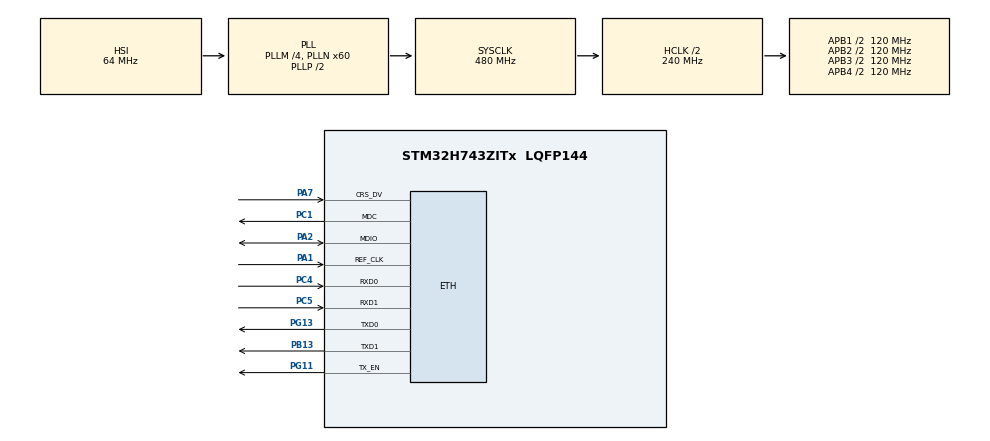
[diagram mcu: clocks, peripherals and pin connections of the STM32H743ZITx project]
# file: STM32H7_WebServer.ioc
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CORTEX_M7.AccessPermission-Cortex_Memory_Protection_Unit_Region0_Settings=MPU_REGION_FULL_ACCESS
CORTEX_M7.BaseAddress-Cortex_Memory_Protection_Unit_Region0_Settings=0x30000000
CORTEX_M7.CPU_DCache=Enabled
CORTEX_M7.CPU_ICache=Enabled
CORTEX_M7.DisableExec-Cortex_Memory_Protection_Unit_Region0_Settings=MPU_INSTRUCTION_ACCESS_DISABLE
CORTEX_M7.Enable-Cortex_Memory_Protection_Unit_Region0_Settings=MPU_REGION_ENABLE
CORTEX_M7.IsShareable-Cortex_Memory_Protection_Unit_Region0_Settings=MPU_ACCESS_SHAREABLE
CORTEX_M7.MPU_Control=MPU_PRIVILEGED_DEFAULT
CORTEX_M7.Size-Cortex_Memory_Protection_Unit_Region0_Settings=MPU_REGION_SIZE_128B
ETH.ETH_RX_DESC_CNT=4
ETH.MACAddr=0A\:D0\:E3\:56\:98\:01
ETH.MediaInterface=HAL_ETH_RMII_MODE
FREERTOS.Tasks01=defaultTask,0,1024,StartDefaultTask,Default,NULL,Dynamic,NULL,NULL
LWIP.BSP.number=1
LWIP.CMSIS_VERSION-Enabled=1
LWIP.DHCP_DEBUG=LWIP_DBG_ON
LWIP.GATEWAY_ADDRESS=192.168.117.001
LWIP.ICMP_DEBUG=LWIP_DBG_ON
LWIP.IP_ADDRESS=192.168.117.197
LWIP.IP_DEBUG=LWIP_DBG_ON
LWIP.LWIP_BROADCAST_PING=1
LWIP.LWIP_DHCP=1
LWIP.LWIP_HTTPD=1
LWIP.LWIP_MULTICAST_PING=1
LWIP.LWIP_NETIF_STATUS_CALLBACK=1
LWIP.MEM_SIZE=10*1024
LWIP.NETIF_DEBUG=LWIP_DBG_ON
LWIP.NETMASK_ADDRESS=255.255.255.000
LWIP.Version=v2.1.2_Cube
LWIP0.BSP.STBoard=false
LWIP0.BSP.api=BSP_COMPONENT_DRIVER
LWIP0.BSP.component=LAN8742
LWIP0.BSP.instance=LAN8742
LWIP0.BSP.name=Driver_PHY
LWIP0.BSP.semaphore=S_LAN8742
LWIP0.BSP.solution=LAN8742
ME.X-CUBE-TEST.1.0.1.AppBundleCcDeviceJjApplication=DateEcIiApp
ME.X-CUBE-TEST.1.0.1.Bundle1CcDataOoExchangeJjComp1=true
ME.X-CUBE-TEST.1.0.1.Bundle1CcDataOoExchangeJjComp2=true
ME.X-CUBE-TEST.1.0.1.FileOoSystemJjTopComponent=true
Mcu.Family=STM32H7
Mcu.Name=STM32H743ZITx
Mcu.Package=LQFP144
NVIC.ETH_IRQn=true\:5\:0\:false\:false\:true\:true\:true\:true\:true
NVIC.PriorityGroup=NVIC_PRIORITYGROUP_4
NVIC.TIM1_UP_IRQn=true\:15\:0\:false\:false\:true\:false\:false\:true\:true
NVIC.TimeBase=TIM1_UP_IRQn
NVIC.TimeBaseIP=TIM1
PA1.Mode=RMII
PA1.Signal=ETH_REF_CLK
PA2.Mode=RMII
PA2.Signal=ETH_MDIO
PA7.Mode=RMII
PA7.Signal=ETH_CRS_DV
PB13.Mode=RMII
PB13.Signal=ETH_TXD1
PC1.Mode=RMII
PC1.Signal=ETH_MDC
PC4.Mode=RMII
PC4.Signal=ETH_RXD0
PC5.Mode=RMII
PC5.Signal=ETH_RXD1
PG11.Mode=RMII
PG11.Signal=ETH_TX_EN
PG13.Mode=RMII
PG13.Signal=ETH_TXD0
PH0-OSC_IN\ (PH0).Mode=HSE-External-Oscillator
PH0-OSC_IN\ (PH0).Signal=RCC_OSC_IN
PH1-OSC_OUT\ (PH1).Mode=HSE-External-Oscillator
PH1-OSC_OUT\ (PH1).Signal=RCC_OSC_OUT
ProjectManager.HeapSize=0x200
ProjectManager.StackSize=0x400
ProjectManager.TargetToolchain=STM32CubeIDE
RCC.ADCFreq_Value=129000000
RCC.APB1Freq_Value=120000000
RCC.APB2Freq_Value=120000000
RCC.APB3Freq_Value=120000000
RCC.APB4Freq_Value=120000000
RCC.CortexFreq_Value=480000000
RCC.D1PPRE=RCC_APB3_DIV2
RCC.D2PPRE1=RCC_APB1_DIV2
RCC.D2PPRE2=RCC_APB2_DIV2
RCC.D3PPRE=RCC_APB4_DIV2
RCC.DIVM1=4
RCC.DIVN1=60
RCC.HCLKFreq_Value=240000000
RCC.HPRE=RCC_HCLK_DIV2
RCC.PLL2FRACN=0
RCC.PLL3FRACN=0
RCC.PLLFRACN=0
RCC.SYSCLKFreq_VALUE=480000000
RCC.SYSCLKSource=RCC_SYSCLKSOURCE_PLLCLK
RCC.USBFreq_Value=480000000
VP_FREERTOS_VS_CMSIS_V1.Mode=CMSIS_V1
VP_LWIP_VS_Enabled.Mode=Enabled
VP_ME.X-CUBE-TEST_VS_DataOoExchangeJjBundle1_1.0.0_1.0.1.Mode=DataOoExchangeJjBundle1
VP_ME.X-CUBE-TEST_VS_DeviceJjAppBundle_1.0.0_1.0.1.Mode=DeviceJjAppBundle
VP_ME.X-CUBE-TEST_VS_FileOoSystemJjTopComponent_1.0.0_1.0.1.Mode=FileOoSystemJjTopComponent
VP_SYS_VS_tim1.Mode=TIM1
board=NUCLEO-H743ZI2

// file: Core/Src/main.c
/* USER CODE BEGIN Header */
/**
  ******************************************************************************
  * @file           : main.c
  * @brief          : Main program body
  ******************************************************************************
  * @attention
  *
  * Copyright (c) 2024 STMicroelectronics.
  * All rights reserved.
  *
  * This software is licensed under terms that can be found in the LICENSE file
  * in the root directory of this software component.
  * If no LICENSE file comes with this software, it is provided AS-IS.
  *
  ******************************************************************************
  */
/* USER CODE END Header */
#include "main.h"
#include "cmsis_os.h"
#include "lwip.h"

osThreadId defaultTaskHandle;
/* USER CODE BEGIN PV */
extern struct netif gnetif;
/* USER CODE END PV */

void SystemClock_Config(void);
static void MPU_Config(void);
static void MX_GPIO_Init(void);
void StartDefaultTask(void const * argument);

/* USER CODE BEGIN 0 */

//Debug Exception and Monitor Control Register base address
#define DEMCR        			*((volatile uint32_t*) 0xE000EDFCU )

/* ITM register addresses */
#define ITM_STIMULUS_PORT0   	*((volatile uint32_t*) 0xE0000000 )
#define ITM_TRACE_EN          	*((volatile uint32_t*) 0xE0000E00 )

void u8_ITM_SendChar(uint8_t ch)
{

	//Enable TRCENA
	DEMCR |= ( 1 << 24);

	//enable stimulus port 0
	ITM_TRACE_EN |= ( 1 << 0);

	// read FIFO status in bit [0]:
	while(!(ITM_STIMULUS_PORT0 & 1));

	//Write to ITM stimulus port0
	ITM_STIMULUS_PORT0 = ch;
}

void vApplicationStackOverflowHook(TaskHandle_t xTask, signed char* pcTaskName) {
    printf("Stackoverflow!---------------------\n");
    printf(pcTaskName);
}
/* USER CODE END 0 */

int main(void)
{

  /* MPU Configuration--------------------------------------------------------*/
  MPU_Config();

  /* Enable the CPU Cache */

  /* Enable I-Cache---------------------------------------------------------*/
  SCB_EnableICache();

  /* Enable D-Cache---------------------------------------------------------*/
  SCB_EnableDCache();

  /* MCU Configuration--------------------------------------------------------*/

  /* Reset of all peripherals, Initializes the Flash interface and the Systick. */
  HAL_Init();

  /* Configure the system clock */
  SystemClock_Config();

  /* Initialize all configured peripherals */
  MX_GPIO_Init();

  /* Create the thread(s) */
  /* definition and creation of defaultTask */
  osThreadDef(defaultTask, StartDefaultTask, osPriorityNormal, 0, 1024);
  defaultTaskHandle = osThreadCreate(osThread(defaultTask), NULL);

  /* Start scheduler */
  osKernelStart();

  /* We should never get here as control is now taken by the scheduler */

  /* Infinite loop */
  while (1)
  {

  }
}

void SystemClock_Config(void)
{
  RCC_OscInitTypeDef RCC_OscInitStruct = {0};
  RCC_ClkInitTypeDef RCC_ClkInitStruct = {0};

  /** Supply configuration update enable
  */
  HAL_PWREx_ConfigSupply(PWR_LDO_SUPPLY);

  /** Configure the main internal regulator output voltage
  */
  __HAL_PWR_VOLTAGESCALING_CONFIG(PWR_REGULATOR_VOLTAGE_SCALE1);

  while(!__HAL_PWR_GET_FLAG(PWR_FLAG_VOSRDY)) {}

  __HAL_RCC_SYSCFG_CLK_ENABLE();
  __HAL_PWR_VOLTAGESCALING_CONFIG(PWR_REGULATOR_VOLTAGE_SCALE0);

  while(!__HAL_PWR_GET_FLAG(PWR_FLAG_VOSRDY)) {}

  /** Initializes the RCC Oscillators according to the specified parameters
  * in the RCC_OscInitTypeDef structure.
  */
  RCC_OscInitStruct.OscillatorType = RCC_OSCILLATORTYPE_HSI;
  RCC_OscInitStruct.HSIState = RCC_HSI_DIV1;
  RCC_OscInitStruct.HSICalibrationValue = RCC_HSICALIBRATION_DEFAULT;
  RCC_OscInitStruct.PLL.PLLState = RCC_PLL_ON;
  RCC_OscInitStruct.PLL.PLLSource = RCC_PLLSOURCE_HSI;
  RCC_OscInitStruct.PLL.PLLM = 4;
  RCC_OscInitStruct.PLL.PLLN = 60;
  RCC_OscInitStruct.PLL.PLLP = 2;
  RCC_OscInitStruct.PLL.PLLQ = 2;
  RCC_OscInitStruct.PLL.PLLR = 2;
  RCC_OscInitStruct.PLL.PLLRGE = RCC_PLL1VCIRANGE_3;
  RCC_OscInitStruct.PLL.PLLVCOSEL = RCC_PLL1VCOWIDE;
  RCC_OscInitStruct.PLL.PLLFRACN = 0;
  if (HAL_RCC_OscConfig(&RCC_OscInitStruct) != HAL_OK)
  {
    Error_Handler();
  }

  /** Initializes the CPU, AHB and APB buses clocks
  */
  RCC_ClkInitStruct.ClockType = RCC_CLOCKTYPE_HCLK|RCC_CLOCKTYPE_SYSCLK
                              |RCC_CLOCKTYPE_PCLK1|RCC_CLOCKTYPE_PCLK2
                              |RCC_CLOCKTYPE_D3PCLK1|RCC_CLOCKTYPE_D1PCLK1;
  RCC_ClkInitStruct.SYSCLKSource = RCC_SYSCLKSOURCE_PLLCLK;
  RCC_ClkInitStruct.SYSCLKDivider = RCC_SYSCLK_DIV1;
  RCC_ClkInitStruct.AHBCLKDivider = RCC_HCLK_DIV2;
  RCC_ClkInitStruct.APB3CLKDivider = RCC_APB3_DIV2;
  RCC_ClkInitStruct.APB1CLKDivider = RCC_APB1_DIV2;
  RCC_ClkInitStruct.APB2CLKDivider = RCC_APB2_DIV2;
  RCC_ClkInitStruct.APB4CLKDivider = RCC_APB4_DIV2;

  if (HAL_RCC_ClockConfig(&RCC_ClkInitStruct, FLASH_LATENCY_4) != HAL_OK)
  {
    Error_Handler();
  }
}

static void MX_GPIO_Init(void)
{

  /* GPIO Ports Clock Enable */
  __HAL_RCC_GPIOH_CLK_ENABLE();
  __HAL_RCC_GPIOC_CLK_ENABLE();
  __HAL_RCC_GPIOA_CLK_ENABLE();
  __HAL_RCC_GPIOB_CLK_ENABLE();
  __HAL_RCC_GPIOG_CLK_ENABLE();

/* USER CODE BEGIN MX_GPIO_Init_2 */
  /* GPIO Ports Clock Enable */
    __HAL_RCC_GPIOC_CLK_ENABLE();
    __HAL_RCC_GPIOB_CLK_ENABLE();
    __HAL_RCC_GPIOE_CLK_ENABLE();

    GPIO_InitTypeDef GPIO_InitStruct = {0};

    /*Configure GPIO pin Output Level */
    HAL_GPIO_WritePin(GPIOB, LD1_Pin|LD3_Pin, GPIO_PIN_RESET);

    /*Configure GPIO pin Output Level */
    HAL_GPIO_WritePin(LD2_GPIO_Port, LD2_Pin, GPIO_PIN_RESET);

    /*Configure GPIO pin : B1_Pin */
    GPIO_InitStruct.Pin = B1_Pin;
    GPIO_InitStruct.Mode = GPIO_MODE_INPUT;
    GPIO_InitStruct.Pull = GPIO_NOPULL;
    HAL_GPIO_Init(B1_GPIO_Port, &GPIO_InitStruct);

    /*Configure GPIO pins : LD1_Pin LD3_Pin */
    GPIO_InitStruct.Pin = LD1_Pin|LD3_Pin;
    GPIO_InitStruct.Mode = GPIO_MODE_OUTPUT_PP;
    GPIO_InitStruct.Pull = GPIO_NOPULL;
    GPIO_InitStruct.Speed = GPIO_SPEED_FREQ_LOW;
    HAL_GPIO_Init(GPIOB, &GPIO_InitStruct);

    /*Configure GPIO pin : LD2_Pin */
    GPIO_InitStruct.Pin = LD2_Pin;
    GPIO_InitStruct.Mode = GPIO_MODE_OUTPUT_PP;
    GPIO_InitStruct.Pull = GPIO_NOPULL;
    GPIO_InitStruct.Speed = GPIO_SPEED_FREQ_LOW;
    HAL_GPIO_Init(LD2_GPIO_Port, &GPIO_InitStruct);

/* USER CODE END MX_GPIO_Init_2 */
}

/* USER CODE BEGIN 4 */
int _write(int file, char *ptr, int len)
{
  (void)file;
  int DataIdx;

  for (DataIdx = 0; DataIdx < len; DataIdx++)
  {
	  u8_ITM_SendChar(*ptr++);
  }
  return len;
}

/* USER CODE END 4 */

void StartDefaultTask(void const * argument)
{
  /* init code for LWIP */
  MX_LWIP_Init();
  /* USER CODE BEGIN 5 */

  http_server_netconn_init();

  // This is for CGI -> no need for specific http thread
  //httpd_init();

  /* Infinite loop */
  for(;;)
  {
    osDelay(1);
  }
  /* USER CODE END 5 */
}

 /* MPU Configuration */

void MPU_Config(void)
{
  MPU_Region_InitTypeDef MPU_InitStruct = {0};

  /* Disables the MPU */
  HAL_MPU_Disable();

  /* Configure the MPU attributes as Device not cacheable
       for ETH DMA descriptors and for LwIP Ram heap*/
  MPU_InitStruct.Enable = MPU_REGION_ENABLE;
  MPU_InitStruct.BaseAddress = 0x30000000;
    MPU_InitStruct.Size = MPU_REGION_SIZE_256B;
  MPU_InitStruct.AccessPermission = MPU_REGION_FULL_ACCESS;
    MPU_InitStruct.IsBufferable = MPU_ACCESS_BUFFERABLE;
  MPU_InitStruct.IsCacheable = MPU_ACCESS_NOT_CACHEABLE;
    MPU_InitStruct.IsShareable = MPU_ACCESS_NOT_SHAREABLE;
    MPU_InitStruct.Number = MPU_REGION_NUMBER1;
    MPU_InitStruct.TypeExtField = MPU_TEX_LEVEL0;
    MPU_InitStruct.SubRegionDisable = 0x00;
    MPU_InitStruct.DisableExec = MPU_INSTRUCTION_ACCESS_ENABLE;

    HAL_MPU_ConfigRegion(&MPU_InitStruct);

    /* Configure the MPU attributes as Normal Non Cacheable
       for LwIP RAM heap which contains the Tx buffers */
    MPU_InitStruct.Enable = MPU_REGION_ENABLE;
    MPU_InitStruct.BaseAddress = 0x30004000;
    MPU_InitStruct.Size = MPU_REGION_SIZE_64KB;
    MPU_InitStruct.AccessPermission = MPU_REGION_FULL_ACCESS;
  MPU_InitStruct.IsBufferable = MPU_ACCESS_NOT_BUFFERABLE;
    MPU_InitStruct.IsCacheable = MPU_ACCESS_NOT_CACHEABLE;
    MPU_InitStruct.IsShareable = MPU_ACCESS_SHAREABLE;
    MPU_InitStruct.Number = MPU_REGION_NUMBER2;
    MPU_InitStruct.TypeExtField = MPU_TEX_LEVEL1;
    MPU_InitStruct.SubRegionDisable = 0x00;
    MPU_InitStruct.DisableExec = MPU_INSTRUCTION_ACCESS_ENABLE;

  HAL_MPU_ConfigRegion(&MPU_InitStruct);

    /* Enable the MPU */
  HAL_MPU_Enable(MPU_PRIVILEGED_DEFAULT);

}

void HAL_TIM_PeriodElapsedCallback(TIM_HandleTypeDef *htim)
{
  if (htim->Instance == TIM1) {
    HAL_IncTick();
  }
}

void Error_Handler(void)
{
  __disable_irq();
  while (1)
  {
  }
}
